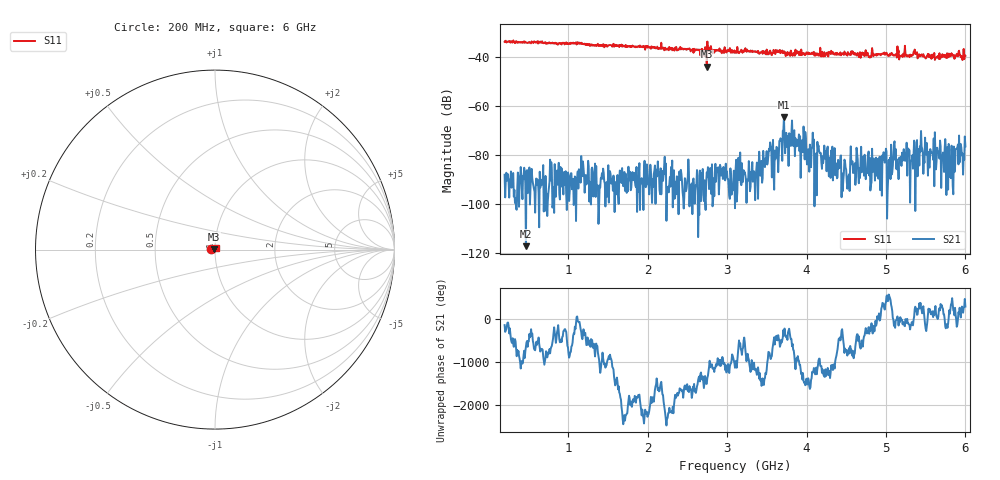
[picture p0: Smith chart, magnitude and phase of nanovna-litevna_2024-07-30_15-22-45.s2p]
! NanoVNA-App by OneOfEleven et al v1.1.209 (+OD15)
! Date: 2024-07-30 15:22:50
! Start: 200MHz Stop: 6GHz Points: 801
! S-Parameter data: F S11 S21 S12 S22
# Hz S RI R 50
!  Frequency  S11_Real  S11_Imag  S21_Real  S21_Imag  S12_Real  S12_Imag  S22_Real  S22_Imag
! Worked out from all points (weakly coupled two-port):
!   801 points, 200 MHz to 6 GHz, reference 50 ohm
!   highest |S21| = -64.60 dB at 3.716 GHz (marker M1); lowest = -117.2 dB at 468.2 MHz (marker M2)
!   lowest |S11| = -44.2 dB at 2.745 GHz (marker M3), VSWR 1.01, Z = 49.5 + j0.289 ohm
!   |S11| at or under -10 dB: start of sweep to end of sweep
!   S12 and S22 are empty: the file has one direction only
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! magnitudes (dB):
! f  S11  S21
! 200 MHz  -34.0  -88.1
! 468.2 MHz  -34.2  -117.2
! 1.171 GHz  -34.9  -86.8
! 2.136 GHz  -36.6  -87.4
! 2.745 GHz  -44.2  -87.2
! 3.1 GHz  -38.5  -101.7
! 3.491 GHz  -39.2  -81.7
! 3.55 GHz  -38.5  -76.5
! 3.622 GHz  -37.9  -76.8
! 3.666 GHz  -37.3  -74.4
! 3.687 GHz  -38.1  -74.1
! 3.716 GHz  -37.8  -64.6
! 3.926 GHz  -39.4  -89.4
! 3.963 GHz  -38.8  -68.5
! 4.028 GHz  -39.1  -82.9
! 4.072 GHz  -38.4  -77.1
! 4.188 GHz  -40.0  -83.3
! 5.036 GHz  -39.5  -82.1
! 5.319 GHz  -39.4  -82.3
! 5.42 GHz  -39.1  -84.4
! 5.551 GHz  -39.9  -85.2
! 6 GHz  -39.7  -76.6
